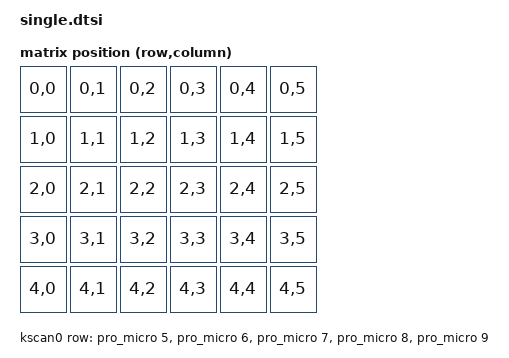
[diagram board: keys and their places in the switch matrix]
/*
 * Copyright (c) 2020 The ZMK Contributors
 *
 * SPDX-License-Identifier: MIT
 *
 * Sofle
 *
 *   ROW 0  => D5
 *   ROW 1   => D6
 *   ROW 2   => D7
 *   ROW 3   => D8
 *   ROW 4   => D9
 *
 *   COL 0   => D19
 *   COL 1   => D18
 *   COL 2   => D15
 *   COL 3   => D14
 *   COL 4   => D16
 *   COL 5   => D10
 *
 *   ENCA    => D21
 *   ENCB    => D20
 */
#include <dt-bindings/zmk/matrix_transform.h>

/ {
    chosen {
        zmk,kscan = &kscan0;
        zmk,matrix_transform = &default_transform;
    };

    default_transform: keymap_transform_0 {
        compatible = "zmk,matrix-transform";
        columns = <4>;
        rows = <4>;
        map = <
            RC(0,0) RC(0,1) RC(0,2) RC(0,3) RC(0,4) RC(0,5)
            RC(1,0) RC(1,1) RC(1,2) RC(1,3) RC(1,4) RC(1,5)
            RC(2,0) RC(2,1) RC(2,2) RC(2,3) RC(2,4) RC(2,5)
            RC(3,0) RC(3,1) RC(3,2) RC(3,3) RC(3,4) RC(3,5)
            RC(4,0) RC(4,1) RC(4,2) RC(4,3) RC(4,4) RC(4,5)
        >;
    };

    kscan0: kscan {
        compatible = "zmk,kscan-gpio-matrix";
        label = "KSCAN";
        diode-direction = "col2row";
        
        row-gpios
            = <&pro_micro 5 (GPIO_ACTIVE_HIGH | GPIO_PULL_DOWN)>
            , <&pro_micro 6 (GPIO_ACTIVE_HIGH | GPIO_PULL_DOWN)>
            , <&pro_micro 7 (GPIO_ACTIVE_HIGH | GPIO_PULL_DOWN)>
            , <&pro_micro 8 (GPIO_ACTIVE_HIGH | GPIO_PULL_DOWN)>
            , <&pro_micro 9 (GPIO_ACTIVE_HIGH | GPIO_PULL_DOWN)>
            ;
    };
};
